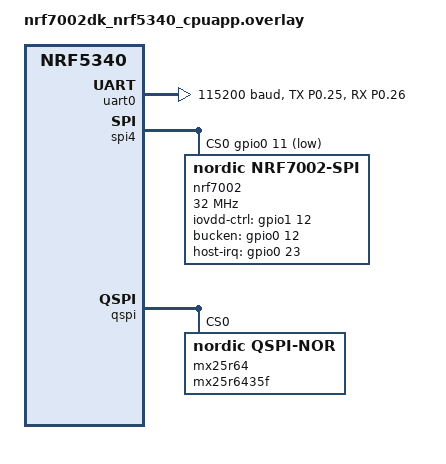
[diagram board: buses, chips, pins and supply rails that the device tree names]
/*
 * Copyright (c) 2021 Nordic Semiconductor ASA
 *
 * SPDX-License-Identifier: LicenseRef-Nordic-5-Clause
 */

/ {
	chosen {
		nordic,pm-ext-flash = &mx25r64;
	};
};

&uart0{
	compatible = "nordic,nrf-uarte";
	status = "okay";
	current-speed = < 0x1c200 >;
	pinctrl-0 = < &uart0_default >;
	pinctrl-1 = < &uart0_sleep >;
	pinctrl-names = "default", "sleep";
};

&spi4 {
	compatible = "nordic,nrf-spim";
	status = "okay";
	pinctrl-0 = <&spi4_default>;
	pinctrl-1 = <&spi4_sleep>;
	pinctrl-names = "default", "sleep";
	cs-gpios = <&gpio0 11 GPIO_ACTIVE_LOW>;
	/delete-node/ mx25r6435f@0;
	nrf7002: nrf7002@0 {
		status = "okay";
		compatible = "nordic,nrf7002-spi";
		reg = <0>;
		spi-max-frequency = <32000000>;
		/* Wi-Fi Pins used */
		iovdd-ctrl-gpios = <&gpio1 12 GPIO_ACTIVE_HIGH>;
		bucken-gpios = <&gpio0 12 GPIO_ACTIVE_HIGH>;
		host-irq-gpios = <&gpio0 23 GPIO_ACTIVE_HIGH>;
	};
};

&qspi {
		compatible = "nordic,nrf-qspi";
		#address-cells = < 0x1 >;
		#size-cells = < 0x0 >;
		reg = < 0x2b000 0x1000 >, < 0x10000000 0x10000000 >;
		reg-names = "qspi", "qspi_mm";
		interrupts = < 0x2b 0x1 >;
		status = "okay";
		pinctrl-0 = < &qspi_default >;
		pinctrl-1 = < &qspi_sleep >;
		pinctrl-names = "default", "sleep";
		/delete-node/ nrf7002@1;
		mx25r64: mx25r6435f@0 {
			compatible = "nordic,qspi-nor";
			reg = < 0x0 >;
			writeoc = "pp4o";
			readoc = "read4io";
			sck-frequency = < 0xf42400 >;
			jedec-id = [ C8 60 17 ];
			quad-enable-requirements = "S2B1v1";
			/delete-property/ sfdp;
			// /delete-property/ size;
			// sfdp-bfp = [ E5 20 F1 FF FF FF FF 03 44 EB 08 6B 08 3B 04 BB EE FF FF FF FF FF 00 FF FF FF 00 FF 0C 20 0F 52 10 D8 00 FF 23 72 F5 00 82 ED 04 CC 44 83 68 44 30 B0 30 B0 F7 C4 D5 5C 00 BE 29 FF F0 D0 FF FF ];
			// size-in-bytes = < 0x800000 >;
			// size = < 0x4000000 >;
			size = <67108864>;
			has-dpd;
			t-enter-dpd = < 5000 >;
			t-exit-dpd = < 5000 >;
		};
};

&pinctrl {
	uart0_default: uart0_default {
		group1 {
			psels = <NRF_PSEL(UART_TX, 0, 25)>;
		};
		group2 {
			psels = <NRF_PSEL(UART_RX, 0, 26)>;
			bias-pull-up;
		};
	};

	uart0_sleep: uart0_sleep {
		group1 {
			psels = <NRF_PSEL(UART_TX, 0, 25)>,
				<NRF_PSEL(UART_RX, 0, 26)>;
			low-power-enable;
		};
	};
};
